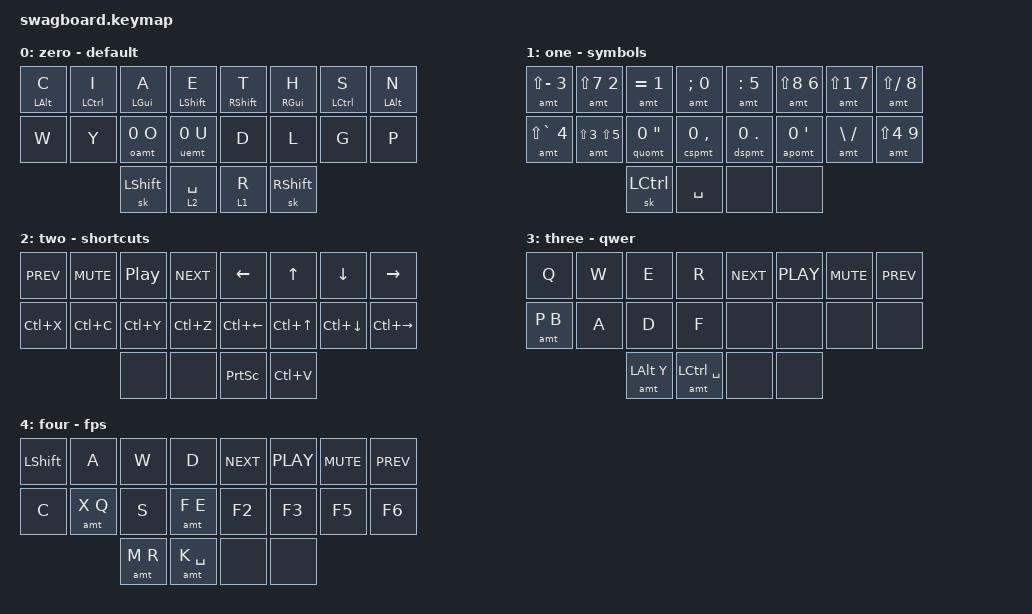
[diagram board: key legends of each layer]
#include "fingermap.h"

/ { 
behaviors { // ---------------------------------------------------------------------------------------
        hml: home_row_mod_l { 		hold-trigger-key-positions = < 0 1 2 3 8 9 10 11 16 17 >; 		};
		hmr: home_row_mod_r { 		hold-trigger-key-positions = < 4 5 6 7 12 13 14 15 18 19 >;  }; };
// ---------------------------------------------------------------------------------------------------

keymap { compatible = "zmk,keymap";
		zero 	{ display-name = "zero - default"; // -------------------
		bindings = < &hml LALT C &hml LCTRL I &hml LGUI A &hml LSHIFT E &hmr RSHIFT T &hmr RGUI H &hmr LCTRL S &hmr LALT N
                     &kp W &kp Y &oamt 0 O &uemt 0 U &kp D &kp L &kp G &kp P 
                     &sk LSHIFT &lt 2 SPACE &lt 1 R &sk RSHIFT >; };
		one 	{ display-name = "one - symbols"; // --------------------
		bindings = < &amt LS(MINUS)	N3 &amt LS(N7) N2 &amt EQUAL N1	&amt SEMI N0 &amt COLON N5 &amt LS(N8) N6 &amt LS(N1) N7 &amt LS(FSLH) N8
                     &amt LS(GRAVE) N4 &amt LS(N3) LS(N5) &quomt 0 DQT &cspmt 0 COMMA &dspmt 0 DOT &apomt 0 APOS &amt BSLH FSLH &amt LS(N4) N9
                     &sk LCTRL &kp SPACE &none &none >; };
		two 	{ display-name = "two - shortcuts"; // ------------------
		bindings = < &kp C_PREV &kp C_MUTE &kp C_PP &kp C_NEXT &kp LEFT &kp UP &kp DOWN &kp RIGHT
                     &kp LC(X) &kp LC(C) &kp LC(Y) &kp LC(Z) &kp LC(LEFT) &kp LC(UP) &kp LC(DOWN) &kp LC(RIGHT)
                	 &none &none &kp PSCRN &kp LC(V) >; };
		three 	{ display-name = "three - qwer"; // ----------------------
		bindings = < &kp Q &kp W &kp E &kp R &kp C_NEXT &kp C_PLAY &kp C_MUTE &kp C_PREV
                     &amt P B &kp A &kp D &kp F &none &none &none &none
                     &amt LALT Y &amt LCTRL SPACE &none &none >; };
		four 	{ display-name = "four - fps"; // ------------------------
		bindings = < &kp LSHIFT &kp A &kp W &kp D &kp C_NEXT &kp C_PLAY &kp C_MUTE &kp C_PREV
                     &kp C &amt X Q &kp S &amt F E &kp F2 &kp F3 &kp F5 &kp F6 
                     &amt M R &amt K SPACE &none &none >; }; };

combos { compatible = "zmk,combos";
        // alphas ----------------------------------------------------------------------------------------------------------------------------------------
		cbo_v 				{ timeout-ms = <50>; 	key-positions = < 	0 8  		>; 	bindings = <	&kp V				>; 	layers = <	0		>; 	};
		cbo_j 				{ timeout-ms = <50>; 	key-positions = < 	1 9    		>; 	bindings = <	&kp J				>;	layers = <	0		>; 	};
        cbo_x				{ timeout-ms = <50>; 	key-positions = < 	2 10		>; 	bindings = <	&kp X				>;	layers = <	0		>; 	};
        cbo_repeat			{ timeout-ms = <50>; 	key-positions = < 	3 11		>; 	bindings = <	&mage_rep			>;	layers = <	0		>; 	};
        cbo_k 				{ timeout-ms = <50>; 	key-positions = < 	4 12		>; 	bindings = <	&kp K				>;	layers = <	0		>; 	};
        cbo_m 				{ timeout-ms = <50>; 	key-positions = < 	5 13		>; 	bindings = <	&kp M				>;	layers = <	0		>; 	};
        cbo_f 				{ timeout-ms = <50>; 	key-positions = < 	6 14		>; 	bindings = <	&kp F				>;	layers = <	0		>; 	};
        cbo_b 				{ timeout-ms = <50>; 	key-positions = < 	7 15		>; 	bindings = <	&kp B				>;	layers = <	0		>; 	};
        cbo_ze 				{ timeout-ms = <50>; 	key-positions = < 	10 11		>; 	bindings = <	&kp Z			>;	layers = <	0		>; 	};
        cbo_qu				{ timeout-ms = <50>; 	key-positions = < 	12 13		>; 	bindings = <	&qumt Q 0			>; 	layers = <	0		>; 	};
        // symbols ---------------------------------------------------------------------------------------------------------------------------------------
		cbo_none 			{ timeout-ms = <50>; 	key-positions = < 	0 8  		>; 	bindings = <	&amt LG(L) C_SLEEP	>; 	layers = <	1		>; 	};
		cbo_pipe_gr 		{ timeout-ms = <50>; 	key-positions = < 	1 9    		>; 	bindings = <	&amt PIPE GRAVE		>;	layers = <	1		>; 	};
        cbo_at_caret        { timeout-ms = <50>; 	key-positions = < 	2 10		>; 	bindings = <	&amt LS(N6) LS(N2)	>;	layers = <	1		>; 	};
        cbo_minus_plus		{ timeout-ms = <50>; 	key-positions = < 	3 11		>; 	bindings = <	&amt LS(EQUAL) MINUS>;	layers = <	1		>; 	};
        cbo_par 		    { timeout-ms = <50>; 	key-positions = < 	4 12		>; 	bindings = <	&amt RPAR LPAR		>;	layers = <	1		>; 	};
        cbo_brc				{ timeout-ms = <50>; 	key-positions = < 	5 13		>; 	bindings = <	&amt RBRC LBRC		>;	layers = <	1		>; 	};
        cbo_bkt				{ timeout-ms = <50>; 	key-positions = < 	6 14		>; 	bindings = <	&amt RBKT LBKT		>;	layers = <	1		>; 	};
        cbo_abt				{ timeout-ms = <50>; 	key-positions = < 	7 15		>; 	bindings = <	&amt LS(DOT) LS(COMMA)>; layers = <	1		>; 	};
		
		u_cbo_left 			{ timeout-ms = <30>; 	key-positions = < 	0 4    		>; 	bindings = <	&uc 0x2190 0x2190	>; 	layers = <	1		>;	};
		u_cbo_up 			{ timeout-ms = <30>; 	key-positions = < 	2 5		    >;	bindings = <	&uc 0x2191 0x2191	>; 	layers = <	1		>;	};
		u_cbo_down 			{ timeout-ms = <30>; 	key-positions = < 	1 6		    >; 	bindings = <	&uc 0x2193 0x2193	>; 	layers = <	1		>;	};
		u_cbo_right 		{ timeout-ms = <30>; 	key-positions = < 	3 7    		>; 	bindings = <	&uc 0x2192 0x2192	>;	layers = <	1		>;	};
        // macros ----------------------------------------------------------------------------------------------------------------------------------------
		cbo_cf 				{ timeout-ms = <50>; 	key-positions = < 	0 8  		>; 	bindings = <	&kp LC(F)	    	>; 	layers = <	2		>; 	};
		cbo_cs				{ timeout-ms = <50>; 	key-positions = < 	1 9    		>; 	bindings = <	&kp LC(S)			>;	layers = <	2		>; 	};
        cbo_cw				{ timeout-ms = <50>; 	key-positions = < 	2 10		>; 	bindings = <	&kp LC(W)			>;	layers = <	2		>; 	};
        cbo_ct    			{ timeout-ms = <50>; 	key-positions = < 	3 11		>; 	bindings = <	&kp LC(T)    		>;	layers = <	2		>; 	};
        // nav -------------------------------------------------------------------------------------------------------------------------------------------
        cbo_home			{ timeout-ms = <50>; 	key-positions = < 	4 12		>; 	bindings = <	&kp HOME			>;	layers = <	2		>; 	};
        cbo_pgup			{ timeout-ms = <50>; 	key-positions = < 	5 13		>; 	bindings = <	&kp PGUP			>;	layers = <	2		>; 	};
        cbo_pgdn			{ timeout-ms = <50>; 	key-positions = < 	6 14		>; 	bindings = <	&kp PGDN			>;	layers = <	2		>; 	};
        cbo_end    			{ timeout-ms = <50>; 	key-positions = < 	7 15		>; 	bindings = <	&kp END				>;	layers = <	2		>; 	};
		// mods ------------------------------------------------------------------------------------------------------------------------------------------
		//cbo_ctrl_l		{ timeout-ms = <50>; 	key-positions = < 	0 9			>; 	bindings = <	&sk LCTRL			>; 	layers = <	0 1 2	>; 	};
		//cbo_gui_l			{ timeout-ms = <50>; 	key-positions = < 	1 10		>; 	bindings = <	&sk LGUI			>; 	layers = <	0 1 2	>; 	};
		//cbo_shift_l  		{ timeout-ms = <50>; 	key-positions = < 	2 11		>; 	bindings = <	&sk LSHIFT			>;  layers = <	0 1 2	>; 	};
		//cbo_alt_l			{ timeout-ms = <50>; 	key-positions = < 	3 12		>; 	bindings = <	&sk LALT			>; 	layers = <	0 1 2	>; 	};

        //cbo_alt_r			{ timeout-ms = <50>; 	key-positions = < 	4 13		>; 	bindings = <	&sk LALT			>; 	layers = <	0 1 2	>; 	};
		//cbo_shift_r		{ timeout-ms = <50>; 	key-positions = < 	5 14		>; 	bindings = <	&sk RSHIFT			>;  layers = <	0 1 2	>; 	};
		//cbo_gui_r			{ timeout-ms = <50>; 	key-positions = < 	6 15		>; 	bindings = <	&sk RGUI			>; 	layers = <	0 1 2	>; 	};
		//cbo_ctrl_r		{ timeout-ms = <50>; 	key-positions = < 	7 16		>; 	bindings = <	&sk RCTRL			>; 	layers = <	0 1 2	>; 	};

		cbo_back_l			{ timeout-ms = <30>; 	key-positions = < 	1 3    		>; 	bindings = <	&amt LC(BSPC) BSPC	>; 	layers = <	0 1 2	>; 	};
		cbo_del_l			{ timeout-ms = <30>; 	key-positions = <	2 3    		>; 	bindings = <	&amt LC(DEL) DEL	>; 	layers = <	0 1 2	>; 	};
		cbo_tab_l			{ timeout-ms = <30>; 	key-positions = <	9 11		>; 	bindings = <	&amt LA(TAB) TAB	>;	layers = <	0 1 2	>; 	};
		cbo_esc_l			{ timeout-ms = <30>; 	key-positions = < 	9 3    		>; 	bindings = <	&amt LC(ESC) ESC	>;	layers = <	0 1 2	>; 	};
		cbo_enter_l			{ timeout-ms = <30>; 	key-positions = <	1 2    		>; 	bindings = <	&amt LS(RET) RET	>; 	layers = <	0 1 2	>; 	};

		cbo_back_r			{ timeout-ms = <30>; 	key-positions = < 	4 5    		>; 	bindings = <	&amt RC(BSPC) BSPC	>; 	layers = <	0 1 2	>; 	};
		cbo_del_r			{ timeout-ms = <30>; 	key-positions = < 	4 6    		>; 	bindings = <	&amt RC(DEL) DEL	>; 	layers = <	0 1 2	>; 	};
		cbo_tab_r			{ timeout-ms = <30>; 	key-positions = < 	4 14    	>;	bindings = <	&amt LA(TAB) TAB	>; 	layers = <	0 1 2	>; 	};
		cbo_esc_r			{ timeout-ms = <30>; 	key-positions = < 	12 14		>; 	bindings = <	&amt RC(ESC) ESC	>; 	layers = <	0 1 2	>; 	};
		cbo_enter_r			{ timeout-ms = <30>; 	key-positions = < 	5 6    		>; 	bindings = <	&amt RS(RET) RET	>; 	layers = <	0 1 2	>; 	};
		// arrows ----------------------------------------------------------------------------------------------------------------------------------------
		cbo_left 			{ timeout-ms = <30>; 	key-positions = < 	0 4    		>; 	bindings = <	&amt LC(LEFT)  LEFT	>; 	layers = <	0		>;	};
		cbo_up 				{ timeout-ms = <30>; 	key-positions = < 	2 5		    >;	bindings = <	&amt LC(UP)    UP	>; 	layers = <	0		>;	};
		cbo_down 			{ timeout-ms = <30>; 	key-positions = < 	1 6		    >; 	bindings = <	&amt LC(DOWN)  DOWN	>; 	layers = <	0		>;	};
		cbo_right 			{ timeout-ms = <30>; 	key-positions = < 	3 7    		>; 	bindings = <	&amt LC(RIGHT) RIGHT>;	layers = <	0		>;	};
		// layers ----------------------------------------------------------------------------------------------------------------------------------------
		cbo_default 		{ timeout-ms = <50>;	key-positions = < 	2 3 4 5     >;	bindings = <	&to 0				>; 							};
		cbo_fps 			{ timeout-ms = <50>; 	key-positions = < 	1 2 3		>; 	bindings = <	&to 4				>; 							};
		cbo_qwer			{ timeout-ms = <50>; 	key-positions = < 	0 1 2 3    	>; 	bindings = <	&to 3				>; 							};
		// special ---------------------------------------------------------------------------------------------------------------------------------------
		cbo_numword 		{ timeout-ms = <30>; 	key-positions = < 	1 17		>; 	bindings = <	&num_word 1			>;  layers = <	0 1 2	>; 	};
		cbo_capsword 		{ timeout-ms = <30>; 	key-positions = < 	6 18		>; 	bindings = <	&cmt CAPS 0			>;  layers = <	0 1 2	>; 	};
		// game ------------------------------------------------------------------------------------------------------------------------------------------
		g_cbo_tab 			{ timeout-ms = <50>; 	key-positions = < 	9 11		>; 	bindings = <	&kp TAB				>; 	layers = <	3 4	    >; 	};
		g_cbo_esc 			{ timeout-ms = <50>; 	key-positions = < 	9 10 11		>; 	bindings = <	&kp ESC				>; 	layers = <	3 4    	>; 	};

		f_cbo_1 			{ timeout-ms = <75>; 	key-positions = < 	1 9			>; 	bindings = <	&kp N1				>; 	layers = <	4		>; 	};
		f_cbo_2 			{ timeout-ms = <75>; 	key-positions = < 	0 8			>; 	bindings = <	&kp N2				>; 	layers = <	4		>; 	};
		f_cbo_3 			{ timeout-ms = <75>; 	key-positions = < 	3 11		>; 	bindings = <	&kp N3				>; 	layers = <	4		>; 	};
		f_cbo_4 			{ timeout-ms = <50>; 	key-positions = < 	2 10		>; 	bindings = <	&kp N4				>; 	layers = <	4		>; 	};

        q_cbo_1 			{ timeout-ms = <75>; 	key-positions = < 	0 8			>; 	bindings = <	&amt F1 N1			>; 	layers = <	3		>; 	};
		q_cbo_2 			{ timeout-ms = <75>; 	key-positions = < 	1 9			>; 	bindings = <	&amt F2 N2			>; 	layers = <	3		>; 	};
		q_cbo_3 			{ timeout-ms = <75>; 	key-positions = < 	2 10		>; 	bindings = <	&amt F3 N3			>; 	layers = <	3		>; 	};
		q_cbo_4 			{ timeout-ms = <50>; 	key-positions = < 	3 11		>; 	bindings = <	&amt F4 N4			>; 	layers = <	3		>; 	}; }; };
